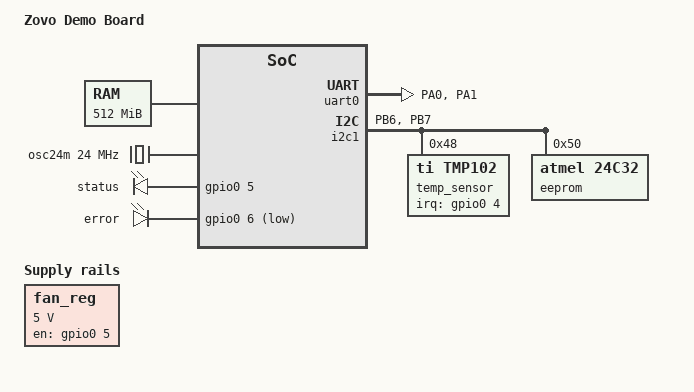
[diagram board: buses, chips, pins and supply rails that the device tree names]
// SPDX-License-Identifier: MIT
/*
 * Zovo demo board: a small, made-up ARM board for trying the DeviceTree Viewer.
 * One file, no includes, so it compiles to zovo-demo-board.dtb as it is.
 * GPIO 5 is used by both the status LED and the fan regulator on purpose:
 * the address and pin map flags it.
 */
/dts-v1/;

#define GIC_SPI 0
#define IRQ_TYPE_LEVEL_HIGH 4
#define GPIO_ACTIVE_HIGH 0
#define GPIO_ACTIVE_LOW 1

/memreserve/ 0x80000000 0x10000;

/ {
	model = "Zovo Demo Board";
	compatible = "zovo,demo-board", "zovo,demo-soc";
	#address-cells = <1>;
	#size-cells = <1>;
	interrupt-parent = <&gic>;

	aliases {
		serial0 = &uart0;
		i2c1 = &i2c1;
	};

	chosen {
		stdout-path = "serial0:115200n8";
		bootargs = "console=ttyS0,115200 root=/dev/mmcblk0p2 rw";
	};

	cpus {
		#address-cells = <1>;
		#size-cells = <0>;

		cpu0: cpu@0 {
			device_type = "cpu";
			compatible = "arm,cortex-a53";
			reg = <0>;
			enable-method = "psci";
		};

		cpu1: cpu@1 {
			device_type = "cpu";
			compatible = "arm,cortex-a53";
			reg = <1>;
			enable-method = "psci";
		};
	};

	memory@80000000 {
		device_type = "memory";
		reg = <0x80000000 0x20000000>;
	};

	reserved-memory {
		#address-cells = <1>;
		#size-cells = <1>;
		ranges;

		dsp_carveout: dsp@9f000000 {
			reg = <0x9f000000 0x1000000>;
			no-map;
		};
	};

	osc24m: oscillator {
		compatible = "fixed-clock";
		#clock-cells = <0>;
		clock-frequency = <24000000>;
		clock-output-names = "osc24m";
	};

	soc {
		compatible = "simple-bus";
		#address-cells = <1>;
		#size-cells = <1>;
		ranges = <0x0 0x40000000 0x10000000>;

		gic: interrupt-controller@1000 {
			compatible = "arm,gic-400";
			reg = <0x1000 0x1000>, <0x2000 0x2000>;
			interrupt-controller;
			#interrupt-cells = <3>;
		};

		gpio0: gpio@10000 {
			compatible = "zovo,demo-gpio";
			reg = <0x10000 0x100>;
			gpio-controller;
			#gpio-cells = <2>;
			interrupt-controller;
			#interrupt-cells = <2>;
			interrupts = <GIC_SPI 12 IRQ_TYPE_LEVEL_HIGH>;
			gpio-line-names = "", "", "", "", "BUTTON", "LED_STATUS", "LED_ERROR";
		};

		pinctrl: pinctrl@11000 {
			compatible = "zovo,demo-pinctrl";
			reg = <0x11000 0x400>;

			uart0_pins: uart0-pins {
				pins = "PA0", "PA1";
				function = "uart0";
			};

			i2c1_pins: i2c1-pins {
				pins = "PB6", "PB7";
				function = "i2c1";
				bias-pull-up;
			};
		};

		uart0: serial@20000 {
			compatible = "ns16550a";
			reg = <0x20000 0x100>;
			interrupts = <GIC_SPI 32 IRQ_TYPE_LEVEL_HIGH>;
			clocks = <&osc24m>;
			reg-shift = <2>;
			pinctrl-names = "default";
			pinctrl-0 = <&uart0_pins>;
			status = "okay";
		};

		i2c1: i2c@21000 {
			compatible = "zovo,demo-i2c";
			reg = <0x21000 0x400>;
			interrupts = <GIC_SPI 33 IRQ_TYPE_LEVEL_HIGH>;
			clocks = <&osc24m>;
			#address-cells = <1>;
			#size-cells = <0>;
			pinctrl-names = "default";
			pinctrl-0 = <&i2c1_pins>;
			status = "okay";

			temp_sensor: temperature-sensor@48 {
				compatible = "ti,tmp102";
				reg = <0x48>;
				interrupt-parent = <&gpio0>;
				interrupts = <4 2>;
			};

			eeprom@50 {
				compatible = "atmel,24c32";
				reg = <0x50>;
				pagesize = <32>;
			};
		};

		spi0: spi@22000 {
			compatible = "zovo,demo-spi";
			reg = <0x22000 0x400>;
			interrupts = <GIC_SPI 34 IRQ_TYPE_LEVEL_HIGH>;
			#address-cells = <1>;
			#size-cells = <0>;
			status = "disabled";
		};

		watchdog@23000 {
			compatible = "zovo,demo-wdt";
			reg = <0x23000 0x40>;
			timeout-sec = <30>;
		};
	};

	leds {
		compatible = "gpio-leds";

		led-status {
			label = "status";
			gpios = <&gpio0 5 GPIO_ACTIVE_HIGH>;
			linux,default-trigger = "heartbeat";
		};

		led-error {
			label = "error";
			gpios = <&gpio0 6 GPIO_ACTIVE_LOW>;
		};
	};

	fan_reg: regulator-fan {
		compatible = "regulator-fixed";
		regulator-name = "fan-5v";
		regulator-min-microvolt = <5000000>;
		regulator-max-microvolt = <5000000>;
		gpio = <&gpio0 5 GPIO_ACTIVE_HIGH>;
		enable-active-high;
	};
};
